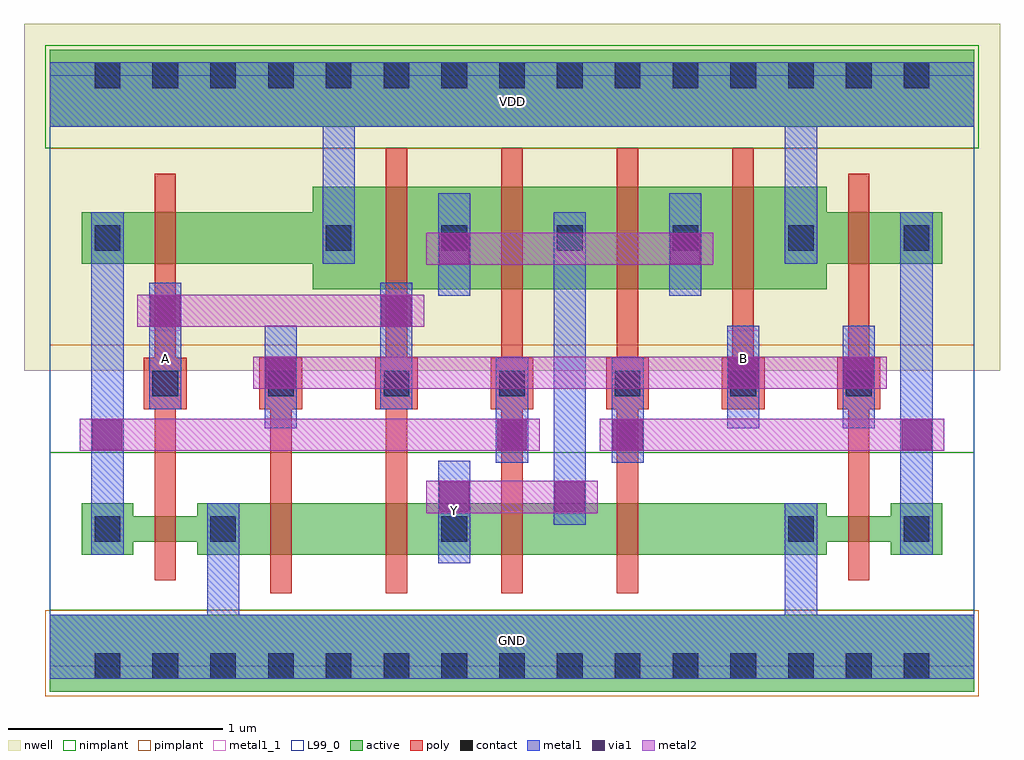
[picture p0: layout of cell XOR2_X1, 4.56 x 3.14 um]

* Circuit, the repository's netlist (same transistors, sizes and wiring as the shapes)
* TV3_OPT/XOR2_X1: netlist from Virtuoso schematic
.SUBCKT XOR2_X1 A B GND VDD Y
MMN5 n2 Bn GND GND nmos1v w=240n l=100n
MMN4 Y An n2 GND nmos1v w=240n l=100n
MMN3 n1 B GND GND nmos1v w=240n l=100n
MMN2 Y A n1 GND nmos1v w=240n l=100n
MMN1 Bn B GND GND nmos1v w=120n l=100n
MMN0 An A GND GND nmos1v w=120n l=100n
MMP5 Y Bn p1 VDD pmos1v w=480n l=100n
MMP4 Y An p1 VDD pmos1v w=480n l=100n
MMP3 p1 B VDD VDD pmos1v w=480n l=100n
MMP2 p1 A VDD VDD pmos1v w=480n l=100n
MMP1 Bn B VDD VDD pmos1v w=240n l=100n
MMP0 An A VDD VDD pmos1v w=240n l=100n
.ENDS XOR2_X1

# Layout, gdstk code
import gdstk
lib = gdstk.Library(unit=1e-6, precision=5e-10)
def R(c, l, rs):  # rectangles x0, y0, x1, y1
    for r in rs: c.add(gdstk.rectangle(r[:2], r[2:], *l))
def A(c, l, x, y, w, h, nx, ny, dx, dy):  # array of equal rectangles
    R(c, l, [(x+i*dx, y+j*dy, x+i*dx+w, y+j*dy+h) for i in range(nx) for j in range(ny)])
active = (1, 0)
nwell = (2, 0)
poly = (3, 0)
nimplant = (4, 0)
pimplant = (5, 0)
contact = (6, 0)
metal1 = (7, 0)
metal1_1 = (7, 1)
via1 = (8, 0)
metal2 = (9, 0)
L99_0 = (99, 0)

xor2_x1 = lib.new_cell('XOR2_X1')
A(xor2_x1, active, 0.15, 0.52, 0.24, 0.24, 8, 1, 0.54, 0)
A(xor2_x1, active, 0.93, 0.52, 0.3, 0.24, 5, 1, 0.54, 0)
A(xor2_x1, active, 1.23, 1.76, 0.24, 0.48, 5, 1, 0.54, 0)
A(xor2_x1, active, 1.47, 1.76, 0.3, 0.48, 4, 1, 0.54, 0)
R(xor2_x1, active, [(0,-0.12,4.32,0.24), (0.39,0.58,0.69,0.7), (3.63,0.58,3.93,0.7), (0.15,1.88,0.39,2.12), (0.39,1.88,0.69,2.12), (0.69,1.88,0.93,2.12), (0.93,1.88,1.23,2.12), (3.63,1.88,3.93,2.12), (3.93,1.88,4.17,2.12), (0,2.52,4.32,2.88)])
R(xor2_x1, nwell, [(-0.12,1.38,4.44,3)])
A(xor2_x1, poly, 1.57, 0.34, 0.1, 2.08, 3, 1, 0.54, 0)
A(xor2_x1, poly, 0.44, 1.2, 0.2, 0.24, 7, 1, 0.54, 0)
R(xor2_x1, poly, [(1.03,0.34,1.13,1.44), (0.49,0.4,0.59,2.3), (3.73,0.4,3.83,2.3), (3.19,1.2,3.29,2.42)])
R(xor2_x1, nimplant, [(0,0.26,4.32,1), (-0.02,2.42,4.34,2.9)])
R(xor2_x1, pimplant, [(-0.02,-0.14,4.34,0.26), (0,1.5,4.32,2.42)])
A(xor2_x1, contact, 0.21, -0.06, 0.12, 0.12, 15, 2, 0.27, 2.76)
A(xor2_x1, contact, 0.48, 1.26, 0.12, 0.12, 7, 1, 0.54, 0)
A(xor2_x1, contact, 1.29, 1.94, 0.12, 0.12, 6, 1, 0.54, 0)
R(xor2_x1, contact, [(0.21,0.58,0.33,0.7), (0.75,0.58,0.87,0.7), (1.83,0.58,1.95,0.7), (3.45,0.58,3.57,0.7), (3.99,0.58,4.11,0.7), (0.21,1.94,0.33,2.06)])
R(xor2_x1, metal1, [(0,-0.06,4.32,0.24), (0.735,0,0.885,0.76), (3.435,0,3.585,0.76), (1.815,0.48,1.965,0.96), (0.195,0.52,0.345,2.12), (3.975,0.52,4.125,2.12), (2.355,0.66,2.505,2.12), (2.085,0.95,2.235,1.44), (2.625,0.95,2.775,1.44), (1.005,1.11,1.155,1.59), (3.165,1.11,3.315,1.59), (3.705,1.11,3.855,1.59), (0.465,1.2,0.615,1.79), (1.545,1.2,1.695,1.79), (1.815,1.73,1.965,2.21), (2.895,1.73,3.045,2.21), (1.275,1.88,1.425,2.76), (3.435,1.88,3.585,2.76), (0,2.52,4.32,2.82)])
R(xor2_x1, metal1_1, [(0,0,4.32,0.24), (1.815,0.59,1.965,0.86), (0.465,1.3,0.615,1.57), (3.165,1.3,3.315,1.57), (0,2.52,4.32,2.76)])
R(xor2_x1, via1, [(1.82,0.72,1.96,0.86), (2.36,0.72,2.5,0.86), (0.2,1.01,0.34,1.15), (2.09,1.01,2.23,1.15), (2.63,1.01,2.77,1.15), (3.98,1.01,4.12,1.15), (1.01,1.3,1.15,1.44), (3.17,1.3,3.31,1.44), (3.71,1.3,3.85,1.44), (0.47,1.59,0.61,1.73), (1.55,1.59,1.69,1.73), (1.82,1.88,1.96,2.02), (2.9,1.88,3.04,2.02)])
R(xor2_x1, metal2, [(1.76,0.715,2.56,0.865), (0.14,1.005,2.29,1.155), (2.57,1.005,4.18,1.155), (0.95,1.295,3.91,1.445), (0.41,1.585,1.75,1.735), (1.76,1.875,3.1,2.025)])
R(xor2_x1, L99_0, [(0,0,4.32,2.76)])
xor2_x1.add(gdstk.Label('Y', (1.89,0.725), layer=7, texttype=3))
xor2_x1.add(gdstk.Label('B', (3.24,1.435), layer=7, texttype=3))
xor2_x1.add(gdstk.Label('A', (0.54,1.435), layer=7, texttype=3))
xor2_x1.add(gdstk.Label('VDD', (2.16,2.64), layer=7, texttype=3))
xor2_x1.add(gdstk.Label('GND', (2.16,0.12), layer=7, texttype=3))

lib.write_gds('XOR2_X1.gds')
